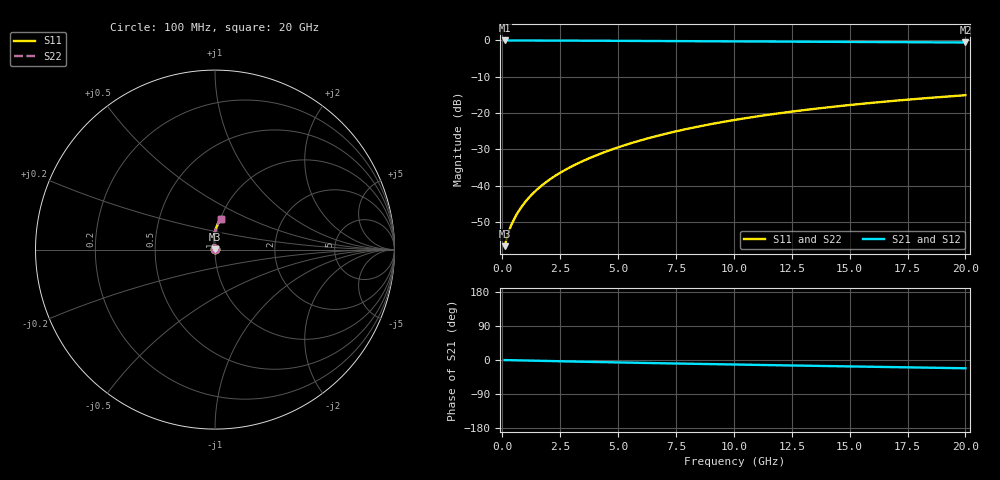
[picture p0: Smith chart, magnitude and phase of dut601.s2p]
! Touchstone file exported from HFSS 2024.1.0
!  File:  C:/UserFiles/LocalFiles/RDL_TSV_Batchsim/temp_RDL_bottom_601_1779783212.aedt
!  Generated:  04:15:56 PM May 26, 2026
!  Design:  RDL_bottom
!  Project:  temp_RDL_bottom_601_1779783212
!  Setup:  Setup1
!  Solution:  Sweep
! Variables:
!  dtsv = 10.80580581um
!  hbump = 3um
!  htsv = 64.71um
!  ldown = 326.72um
!  lrdl = 100um
!  p = 40
!  p1 = 47.9um
!  rhole = 1um
!  t = 450um
!  tdown = 3.78um
!  trdl = 3.915915916um
!  wdown = 29.68um
!  wrdl = 20um
# GHz S MA R 50.000000
! Terminal data exported
! Port[1] = RDL1_T1
! Port[2] = RDL1_T2
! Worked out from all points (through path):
!   200 points, 100 MHz to 20 GHz, reference 50 ohm
!   highest |S21| = -0.01 dB at 100 MHz (marker M1); lowest = -0.6 dB at 20 GHz (marker M2)
!   group delay of S21, straight-line fit = 2.98 ps
!   lowest |S11| = -56.6 dB at 100 MHz (marker M3), VSWR 1.00, Z = 50.1 + j0.0731 ohm
!   |S11| at or under -10 dB: start of sweep to end of sweep
!   |S22| runs from -56.6 to -15.1 dB; largest |S21 - S12| = 6.4e-15
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0.1  0.001478 29.5  0.9987 -0.1  0.9987 -0.1  0.001478 29.5
! Gamma 0 0 0 0
! Port Impedance 50 0 50 0
0.2  0.001955 44.8  0.9986 -0.3  0.9986 -0.3  0.001955 44.8
0.3  0.002449 53.2  0.9984 -0.4  0.9984 -0.4  0.002449 53.2
0.4  0.002938 59.0  0.9983 -0.6  0.9983 -0.6  0.002938 59.0
0.5  0.003431 63.6  0.9982 -0.7  0.9982 -0.7  0.003431 63.6
0.8  0.004973 72.9  0.9979 -1.1  0.9979 -1.1  0.004973 72.9
1  0.006054 77.0  0.9977 -1.4  0.9977 -1.4  0.006054 77.0
1.2  0.007168 80.1  0.9974 -1.6  0.9974 -1.6  0.007168 80.1
1.7  0.01008 85.4  0.9965 -2.3  0.9965 -2.3  0.01008 85.4
2.2  0.01317 88.9  0.9954 -2.9  0.9954 -2.9  0.01317 88.9
2.8  0.01712 91.8  0.9938 -3.7  0.9938 -3.7  0.01712 91.8
3.5  0.02206 94.0  0.9916 -4.6  0.9916 -4.6  0.02206 94.0
4.2  0.02736 95.4  0.9892 -5.5  0.9892 -5.5  0.02736 95.4
5  0.03382 96.2  0.9862 -6.4  0.9862 -6.4  0.03382 96.2
5.9  0.04153 96.4  0.9826 -7.5  0.9826 -7.5  0.04153 96.4
6.8  0.04963 96.2  0.9791 -8.5  0.9791 -8.5  0.04963 96.2
8.4  0.06469 94.9  0.9729 -10.2  0.9729 -10.2  0.06469 94.9
10.1  0.08122 92.8  0.9668 -12.0  0.9668 -12.0  0.08122 92.8
11.7  0.09696 90.7  0.9613 -13.6  0.9613 -13.6  0.09696 90.7
13.4  0.1137 88.2  0.9559 -15.3  0.9559 -15.3  0.1137 88.2
16.7  0.1455 83.6  0.9461 -18.6  0.9461 -18.6  0.1455 83.6
20  0.1763 79.2  0.9368 -21.8  0.9368 -21.8  0.1763 79.2
